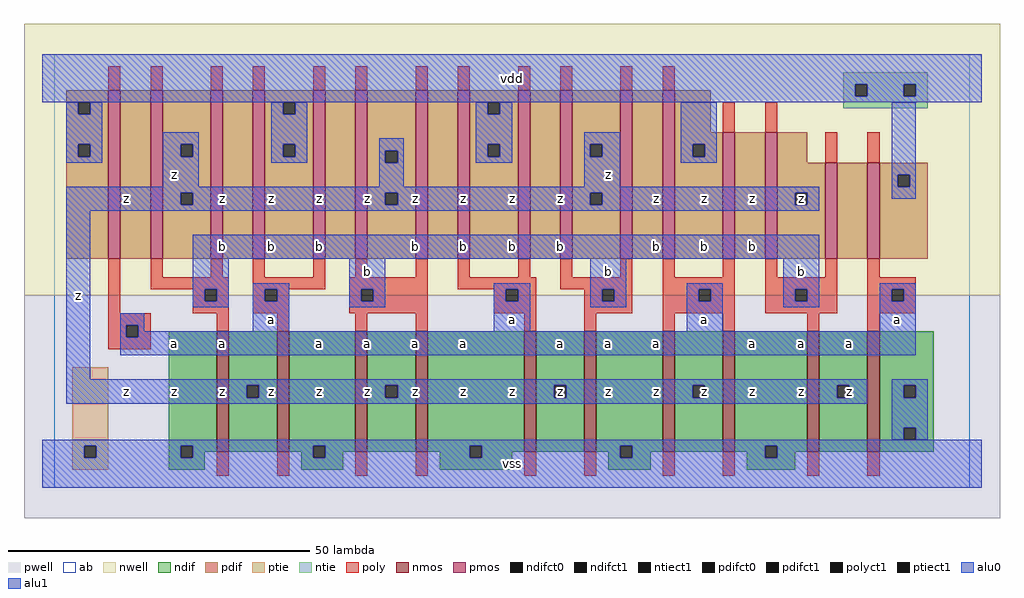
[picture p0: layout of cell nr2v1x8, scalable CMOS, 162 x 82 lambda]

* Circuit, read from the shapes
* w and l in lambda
.subckt nr2v1x8 a b vdd vss z
M1 z b vss vss nfet w=20 l=2 m=5
M2 vss a z vss nfet w=20 l=2 m=5
M3 n1 a vdd vdd pfet w=28 l=2
M4 z b n1 vdd pfet w=28 l=2
M5 n2 b z vdd pfet w=28 l=2
M6 vdd a n2 vdd pfet w=28 l=2
M7 n3 a vdd vdd pfet w=28 l=2
M8 z b n3 vdd pfet w=28 l=2
M9 n4 b z vdd pfet w=28 l=2
M10 vdd a n4 vdd pfet w=28 l=2
M11 n5 a vdd vdd pfet w=28 l=2
M12 z b n5 vdd pfet w=28 l=2
M13 n6 b z vdd pfet w=28 l=2
M14 vdd a n6 vdd pfet w=28 l=2
M15 n7 a vdd vdd pfet w=21 l=2
M16 z b n7 vdd pfet w=21 l=2
M17 n8 b z vdd pfet w=16 l=2
M18 vdd a n8 vdd pfet w=16 l=2
.ends

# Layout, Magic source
magic
tech scmos
<< ab >>
rect 0 0 152 72
<< nwell >>
rect -5 32 157 77
<< pwell >>
rect -5 -5 157 32
<< poly >>
rect 9 66 11 70
rect 16 66 18 70
rect 26 66 28 70
rect 33 66 35 70
rect 43 66 45 70
rect 50 66 52 70
rect 60 66 62 70
rect 67 66 69 70
rect 77 66 79 70
rect 84 66 86 70
rect 94 66 96 70
rect 101 66 103 70
rect 111 59 113 64
rect 118 59 120 64
rect 128 54 130 59
rect 135 54 137 59
rect 9 29 11 38
rect 16 35 18 38
rect 26 35 28 38
rect 33 35 35 38
rect 43 35 45 38
rect 50 35 52 38
rect 60 35 62 38
rect 16 33 29 35
rect 23 31 25 33
rect 27 31 29 33
rect 23 29 29 31
rect 33 33 45 35
rect 49 33 62 35
rect 67 35 69 38
rect 77 35 79 38
rect 84 35 86 38
rect 94 35 96 38
rect 67 33 80 35
rect 84 33 96 35
rect 33 31 35 33
rect 37 31 39 33
rect 33 29 39 31
rect 49 31 51 33
rect 53 31 62 33
rect 49 29 62 31
rect 73 31 75 33
rect 77 31 80 33
rect 73 29 80 31
rect 9 27 16 29
rect 9 25 12 27
rect 14 25 16 27
rect 27 26 29 29
rect 37 26 39 29
rect 50 26 52 29
rect 60 26 62 29
rect 78 26 80 29
rect 88 31 91 33
rect 93 31 96 33
rect 88 29 96 31
rect 101 35 103 38
rect 111 35 113 38
rect 101 33 113 35
rect 101 31 107 33
rect 109 31 113 33
rect 101 29 113 31
rect 118 35 120 38
rect 128 35 130 38
rect 118 33 130 35
rect 118 31 123 33
rect 125 31 130 33
rect 118 29 130 31
rect 135 35 137 38
rect 135 33 143 35
rect 135 31 139 33
rect 141 31 143 33
rect 135 29 143 31
rect 88 26 90 29
rect 101 26 103 29
rect 111 26 113 29
rect 125 26 127 29
rect 135 26 137 29
rect 9 23 16 25
rect 27 2 29 6
rect 37 2 39 6
rect 50 2 52 6
rect 60 2 62 6
rect 78 2 80 6
rect 88 2 90 6
rect 101 2 103 6
rect 111 2 113 6
rect 125 2 127 6
rect 135 2 137 6
<< ndif >>
rect 19 7 27 26
rect 19 5 21 7
rect 23 6 27 7
rect 29 17 37 26
rect 29 15 32 17
rect 34 15 37 17
rect 29 6 37 15
rect 39 7 50 26
rect 39 6 43 7
rect 23 5 25 6
rect 19 3 25 5
rect 41 5 43 6
rect 45 6 50 7
rect 52 17 60 26
rect 52 15 55 17
rect 57 15 60 17
rect 52 6 60 15
rect 62 7 78 26
rect 62 6 69 7
rect 45 5 48 6
rect 41 3 48 5
rect 64 5 69 6
rect 71 6 78 7
rect 80 17 88 26
rect 80 15 83 17
rect 85 15 88 17
rect 80 6 88 15
rect 90 7 101 26
rect 90 6 94 7
rect 71 5 76 6
rect 64 3 76 5
rect 92 5 94 6
rect 96 6 101 7
rect 103 17 111 26
rect 103 15 106 17
rect 108 15 111 17
rect 103 6 111 15
rect 113 7 125 26
rect 113 6 118 7
rect 96 5 99 6
rect 92 3 99 5
rect 115 5 118 6
rect 120 6 125 7
rect 127 17 135 26
rect 127 15 130 17
rect 132 15 135 17
rect 127 6 135 15
rect 137 17 146 26
rect 137 15 141 17
rect 143 15 146 17
rect 137 10 146 15
rect 137 8 141 10
rect 143 8 146 10
rect 137 6 146 8
rect 120 5 123 6
rect 115 3 123 5
<< pdif >>
rect 2 64 9 66
rect 2 62 4 64
rect 6 62 9 64
rect 2 57 9 62
rect 2 55 4 57
rect 6 55 9 57
rect 2 38 9 55
rect 11 38 16 66
rect 18 57 26 66
rect 18 55 21 57
rect 23 55 26 57
rect 18 49 26 55
rect 18 47 21 49
rect 23 47 26 49
rect 18 38 26 47
rect 28 38 33 66
rect 35 64 43 66
rect 35 62 38 64
rect 40 62 43 64
rect 35 57 43 62
rect 35 55 38 57
rect 40 55 43 57
rect 35 38 43 55
rect 45 38 50 66
rect 52 56 60 66
rect 52 54 55 56
rect 57 54 60 56
rect 52 49 60 54
rect 52 47 55 49
rect 57 47 60 49
rect 52 38 60 47
rect 62 38 67 66
rect 69 64 77 66
rect 69 62 72 64
rect 74 62 77 64
rect 69 57 77 62
rect 69 55 72 57
rect 74 55 77 57
rect 69 38 77 55
rect 79 38 84 66
rect 86 57 94 66
rect 86 55 89 57
rect 91 55 94 57
rect 86 49 94 55
rect 86 47 89 49
rect 91 47 94 49
rect 86 38 94 47
rect 96 38 101 66
rect 103 59 109 66
rect 103 57 111 59
rect 103 55 106 57
rect 108 55 111 57
rect 103 38 111 55
rect 113 38 118 59
rect 120 54 125 59
rect 120 49 128 54
rect 120 47 123 49
rect 125 47 128 49
rect 120 38 128 47
rect 130 38 135 54
rect 137 52 145 54
rect 137 50 140 52
rect 142 50 145 52
rect 137 38 145 50
<< alu1 >>
rect -2 67 154 72
rect -2 65 133 67
rect 135 65 141 67
rect 143 65 154 67
rect -2 64 154 65
rect 18 57 24 59
rect 18 55 21 57
rect 23 55 24 57
rect 18 50 24 55
rect 54 56 58 58
rect 54 54 55 56
rect 57 54 58 56
rect 88 57 94 59
rect 88 55 89 57
rect 91 55 94 57
rect 54 50 58 54
rect 88 50 94 55
rect 2 49 127 50
rect 2 47 21 49
rect 23 47 55 49
rect 57 47 89 49
rect 91 47 123 49
rect 125 47 127 49
rect 2 46 127 47
rect 2 18 6 46
rect 23 38 127 42
rect 23 33 29 38
rect 23 31 25 33
rect 27 31 29 33
rect 23 30 29 31
rect 33 33 39 34
rect 33 31 35 33
rect 37 31 39 33
rect 11 27 15 29
rect 11 25 12 27
rect 14 26 15 27
rect 33 26 39 31
rect 49 33 55 38
rect 49 31 51 33
rect 53 31 55 33
rect 49 30 55 31
rect 73 33 79 34
rect 73 31 75 33
rect 77 31 79 33
rect 73 26 79 31
rect 89 33 95 38
rect 89 31 91 33
rect 93 31 95 33
rect 89 30 95 31
rect 105 33 111 34
rect 105 31 107 33
rect 109 31 111 33
rect 105 26 111 31
rect 121 33 127 38
rect 121 31 123 33
rect 125 31 127 33
rect 121 30 127 31
rect 137 33 143 34
rect 137 31 139 33
rect 141 31 143 33
rect 137 26 143 31
rect 14 25 143 26
rect 11 22 143 25
rect 2 17 135 18
rect 2 15 32 17
rect 34 15 55 17
rect 57 15 83 17
rect 85 15 106 17
rect 108 15 130 17
rect 132 15 135 17
rect 2 14 135 15
rect -2 7 154 8
rect -2 5 5 7
rect 7 5 21 7
rect 23 5 43 7
rect 45 5 69 7
rect 71 5 94 7
rect 96 5 118 7
rect 120 5 154 7
rect -2 0 154 5
<< ptie >>
rect 3 7 9 20
rect 3 5 5 7
rect 7 5 9 7
rect 3 3 9 5
<< ntie >>
rect 131 67 145 69
rect 131 65 133 67
rect 135 65 141 67
rect 143 65 145 67
rect 131 63 145 65
<< nmos >>
rect 27 6 29 26
rect 37 6 39 26
rect 50 6 52 26
rect 60 6 62 26
rect 78 6 80 26
rect 88 6 90 26
rect 101 6 103 26
rect 111 6 113 26
rect 125 6 127 26
rect 135 6 137 26
<< pmos >>
rect 9 38 11 66
rect 16 38 18 66
rect 26 38 28 66
rect 33 38 35 66
rect 43 38 45 66
rect 50 38 52 66
rect 60 38 62 66
rect 67 38 69 66
rect 77 38 79 66
rect 84 38 86 66
rect 94 38 96 66
rect 101 38 103 66
rect 111 38 113 59
rect 118 38 120 59
rect 128 38 130 54
rect 135 38 137 54
<< polyct1 >>
rect 25 31 27 33
rect 35 31 37 33
rect 51 31 53 33
rect 75 31 77 33
rect 12 25 14 27
rect 91 31 93 33
rect 107 31 109 33
rect 123 31 125 33
rect 139 31 141 33
<< ndifct0 >>
rect 141 15 143 17
rect 141 8 143 10
<< ndifct1 >>
rect 21 5 23 7
rect 32 15 34 17
rect 43 5 45 7
rect 55 15 57 17
rect 69 5 71 7
rect 83 15 85 17
rect 94 5 96 7
rect 106 15 108 17
rect 118 5 120 7
rect 130 15 132 17
<< ntiect1 >>
rect 133 65 135 67
rect 141 65 143 67
<< ptiect1 >>
rect 5 5 7 7
<< pdifct0 >>
rect 4 62 6 64
rect 4 55 6 57
rect 38 62 40 64
rect 38 55 40 57
rect 72 62 74 64
rect 72 55 74 57
rect 106 55 108 57
rect 140 50 142 52
<< pdifct1 >>
rect 21 55 23 57
rect 21 47 23 49
rect 55 54 57 56
rect 55 47 57 49
rect 89 55 91 57
rect 89 47 91 49
rect 123 47 125 49
<< alu0 >>
rect 2 62 4 64
rect 6 62 8 64
rect 2 57 8 62
rect 36 62 38 64
rect 40 62 42 64
rect 2 55 4 57
rect 6 55 8 57
rect 2 54 8 55
rect 36 57 42 62
rect 70 62 72 64
rect 74 62 76 64
rect 36 55 38 57
rect 40 55 42 57
rect 36 54 42 55
rect 70 57 76 62
rect 70 55 72 57
rect 74 55 76 57
rect 70 54 76 55
rect 104 57 110 64
rect 104 55 106 57
rect 108 55 110 57
rect 104 54 110 55
rect 139 52 143 64
rect 139 50 140 52
rect 142 50 143 52
rect 139 48 143 50
rect 139 17 145 18
rect 139 15 141 17
rect 143 15 145 17
rect 139 10 145 15
rect 139 8 141 10
rect 143 8 145 10
<< labels >>
rlabel alu1 12 16 12 16 6 z
rlabel alu1 20 16 20 16 6 z
rlabel alu1 20 24 20 24 6 a
rlabel alu1 4 32 4 32 6 z
rlabel alu1 12 48 12 48 6 z
rlabel alu1 20 52 20 52 6 z
rlabel alu1 36 16 36 16 6 z
rlabel alu1 44 16 44 16 6 z
rlabel alu1 52 16 52 16 6 z
rlabel alu1 28 16 28 16 6 z
rlabel alu1 28 24 28 24 6 a
rlabel alu1 52 24 52 24 6 a
rlabel alu1 44 24 44 24 6 a
rlabel alu1 36 28 36 28 6 a
rlabel alu1 28 40 28 40 6 b
rlabel alu1 52 36 52 36 6 b
rlabel alu1 36 40 36 40 6 b
rlabel alu1 44 40 44 40 6 b
rlabel alu1 28 48 28 48 6 z
rlabel alu1 52 48 52 48 6 z
rlabel alu1 36 48 36 48 6 z
rlabel alu1 44 48 44 48 6 z
rlabel alu1 76 4 76 4 6 vss
rlabel alu1 68 16 68 16 6 z
rlabel alu1 76 16 76 16 6 z
rlabel ndifct1 84 16 84 16 6 z
rlabel alu1 60 16 60 16 6 z
rlabel alu1 60 24 60 24 6 a
rlabel alu1 84 24 84 24 6 a
rlabel alu1 68 24 68 24 6 a
rlabel alu1 76 28 76 28 6 a
rlabel alu1 60 40 60 40 6 b
rlabel alu1 76 40 76 40 6 b
rlabel alu1 84 40 84 40 6 b
rlabel alu1 68 40 68 40 6 b
rlabel alu1 60 48 60 48 6 z
rlabel alu1 76 48 76 48 6 z
rlabel alu1 84 48 84 48 6 z
rlabel alu1 68 48 68 48 6 z
rlabel alu1 76 68 76 68 6 vdd
rlabel alu1 100 16 100 16 6 z
rlabel alu1 108 16 108 16 6 z
rlabel alu1 116 16 116 16 6 z
rlabel alu1 92 16 92 16 6 z
rlabel alu1 92 24 92 24 6 a
rlabel alu1 116 24 116 24 6 a
rlabel alu1 100 24 100 24 6 a
rlabel alu1 108 28 108 28 6 a
rlabel alu1 92 36 92 36 6 b
rlabel alu1 108 40 108 40 6 b
rlabel alu1 116 40 116 40 6 b
rlabel alu1 100 40 100 40 6 b
rlabel alu1 92 52 92 52 6 z
rlabel alu1 108 48 108 48 6 z
rlabel alu1 116 48 116 48 6 z
rlabel alu1 100 48 100 48 6 z
rlabel alu1 132 16 132 16 6 z
rlabel alu1 124 16 124 16 6 z
rlabel alu1 124 24 124 24 6 a
rlabel alu1 132 24 132 24 6 a
rlabel alu1 140 28 140 28 6 a
rlabel alu1 124 36 124 36 6 b
rlabel pdifct1 124 48 124 48 6 z
<< end >>
